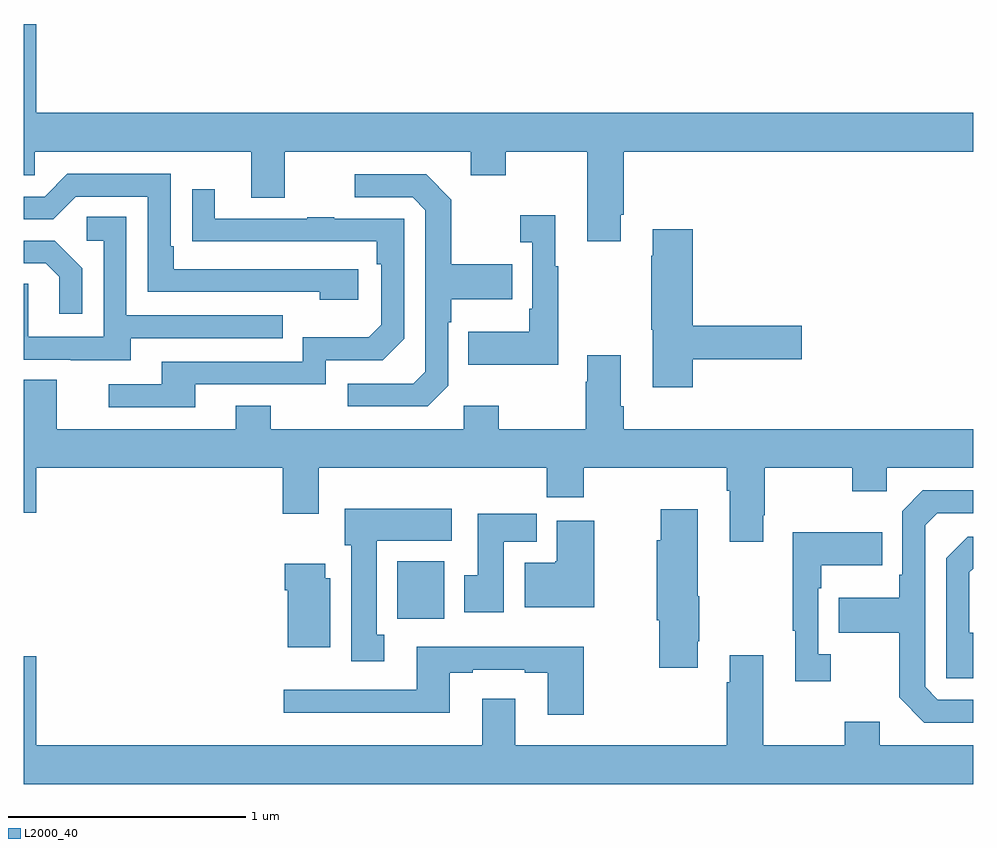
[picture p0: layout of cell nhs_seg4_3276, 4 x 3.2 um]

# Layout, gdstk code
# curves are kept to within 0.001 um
import gdstk
lib = gdstk.Library(unit=1e-6, precision=1e-09)
def R(c, l, rs):  # rectangles x0, y0, x1, y1
    for r in rs: c.add(gdstk.rectangle(r[:2], r[2:], *l))
def P(c, l, *ps):  # polygons
    for p in ps: c.add(gdstk.Polygon(p, *l))
L2000_40 = (2000, 40)

nhs_seg4_3276 = lib.new_cell('nhs_seg4_3276')
R(nhs_seg4_3276, L2000_40, [(286.574,752.228,286.771,752.47)])
P(nhs_seg4_3276, L2000_40, [(287.515,753.931),(287.528,753.931),(287.528,754.196),(289,754.196),(289,754.36),(285.052,754.36),(285.052,754.735),(285,754.735),(285,754.098),(285.045,754.098),(285.045,754.196),(285.959,754.196),(285.959,754.002),(286.099,754.002),(286.099,754.196),(286.883,754.196),(286.883,754.097),(287.031,754.097),(287.031,754.196),(287.375,754.196),(287.375,753.819),(287.515,753.819)],
  [(286.408,753.702),(285.631,753.702),(285.631,753.799),(285.618,753.799),(285.618,754.104),(285.183,754.104),(285.087,754.008),(285,754.008),(285,753.912),(285.123,753.912),(285.219,754.008),(285.522,754.008),(285.522,753.606),(286.247,753.606),(286.247,753.572),(286.408,753.572)],
  [(286.788,753.21),(286.788,753.479),(286.801,753.479),(286.801,753.575),(287.057,753.575),(287.057,753.723),(286.801,753.723),(286.801,753.995),(286.695,754.101),(286.395,754.101),(286.395,754.005),(286.638,754.005),(286.692,753.951),(286.692,753.27),(286.641,753.219),(286.365,753.219),(286.365,753.123),(286.701,753.123)],
  [(285.721,753.216),(286.272,753.216),(286.272,753.318),(286.512,753.318),(286.602,753.408),(286.602,753.915),(286.307,753.915),(286.307,753.92),(286.195,753.92),(286.195,753.915),(285.805,753.915),(285.805,754.039),(285.709,754.039),(285.709,753.82),(286.486,753.819),(286.486,753.722),(286.506,753.722),(286.506,753.468),(286.453,753.415),(286.176,753.415),(286.176,753.312),(285.581,753.312),(285.581,753.216),(285.357,753.216),(285.357,753.12),(285.721,753.12)],
  [(287.251,753.715),(287.239,753.715),(287.239,753.928),(287.091,753.928),(287.091,753.815),(287.142,753.815),(287.142,753.535),(287.13,753.535),(287.13,753.439),(286.873,753.439),(286.873,753.299),(287.251,753.299)],
  [(285.451,753.411),(286.091,753.411),(286.091,753.507),(285.432,753.507),(285.432,753.923),(285.264,753.923),(285.264,753.822),(285.336,753.822),(285.336,753.417),(285.018,753.417),(285.018,753.641),(285,753.641),(285,753.321),(285.197,753.321),(285.197,753.317),(285.451,753.317)],
  [(287.819,753.322),(288.277,753.322),(288.277,753.464),(287.819,753.464),(287.819,753.871),(287.651,753.871),(287.651,753.758),(287.644,753.758),(287.644,753.447),(287.651,753.447),(287.651,753.204),(287.819,753.204)],
  [(285.246,753.706),(285.13,753.822),(285,753.822),(285,753.726),(285.092,753.726),(285.149,753.669),(285.149,753.513),(285.246,753.513)],
  [(288.115,752.665),(288.123,752.665),(288.123,752.864),(288.49,752.864),(288.49,752.765),(288.636,752.765),(288.636,752.864),(289,752.864),(289,753.028),(287.528,753.028),(287.528,753.124),(287.515,753.124),(287.515,753.34),(287.375,753.34),(287.375,753.227),(287.368,753.227),(287.368,753.028),(287.001,753.028),(287.001,753.127),(286.854,753.127),(286.854,753.028),(286.041,753.028),(286.041,753.127),(285.893,753.127),(285.893,753.028),(285.139,753.028),(285.139,753.236),(285,753.236),(285,752.676),(285.052,752.676),(285.052,752.864),(286.091,752.864),(286.091,752.67),(286.243,752.67),(286.243,752.864),(287.203,752.864),(287.203,752.74),(287.36,752.74),(287.36,752.864),(287.963,752.864),(287.963,752.768),(287.975,752.768),(287.975,752.553),(288.115,752.553)],
  [(289,751.887),(288.852,751.887),(288.798,751.941),(288.798,752.622),(288.849,752.673),(289,752.673),(289,752.769),(288.789,752.769),(288.702,752.682),(288.702,752.413),(288.69,752.413),(288.69,752.317),(288.433,752.317),(288.433,752.17),(288.69,752.17),(288.69,751.897),(288.795,751.791),(289,751.791)],
  [(286.519,752.162),(286.486,752.162),(286.486,752.558),(286.804,752.558),(286.804,752.692),(286.352,752.692),(286.352,752.538),(286.379,752.538),(286.379,752.049),(286.519,752.049)],
  [(287.839,752.134),(287.847,752.134),(287.847,752.323),(287.839,752.323),(287.839,752.689),(287.684,752.689),(287.684,752.559),(287.666,752.559),(287.666,752.223),(287.677,752.223),(287.677,752.022),(287.839,752.022)],
  [(287.023,752.552),(287.161,752.552),(287.161,752.67),(286.913,752.67),(286.913,752.412),(286.856,752.412),(286.856,752.256),(287.023,752.256)],
  [(287.404,752.641),(287.246,752.641),(287.246,752.47),(287.24,752.47),(287.24,752.464),(287.111,752.464),(287.111,752.276),(287.404,752.276)],
  [(288.4,752.078),(288.348,752.078),(288.348,752.357),(288.361,752.357),(288.361,752.453),(288.617,752.453),(288.617,752.593),(288.24,752.593),(288.24,752.177),(288.251,752.177),(288.251,751.965),(288.4,751.965)],
  [(289,752.17),(288.984,752.17),(288.984,752.424),(289,752.44),(289,752.574),(288.978,752.574),(288.888,752.484),(288.888,751.977),(289,751.977)],
  [(286.291,752.4),(286.27,752.4),(286.27,752.461),(286.1,752.461),(286.1,752.348),(286.112,752.348),(286.112,752.108),(286.291,752.108)],
  [(287.36,752.11),(286.655,752.11),(286.655,751.929),(286.095,751.929),(286.095,751.832),(286.795,751.832),(286.795,752.001),(286.891,752.001),(286.891,752.013),(287.111,752.013),(287.111,752.001),(287.207,752.001),(287.207,751.824),(287.36,751.824)],
  [(289,751.696),(288.607,751.696),(288.607,751.795),(288.46,751.795),(288.46,751.696),(288.115,751.696),(288.115,752.074),(287.975,752.074),(287.975,751.961),(287.963,751.961),(287.963,751.696),(287.071,751.696),(287.071,751.891),(286.931,751.891),(286.931,751.696),(285.052,751.696),(285.052,752.071),(285,752.071),(285,751.532),(289,751.532)])

lib.write_gds('nhs_seg4_3276.gds')
